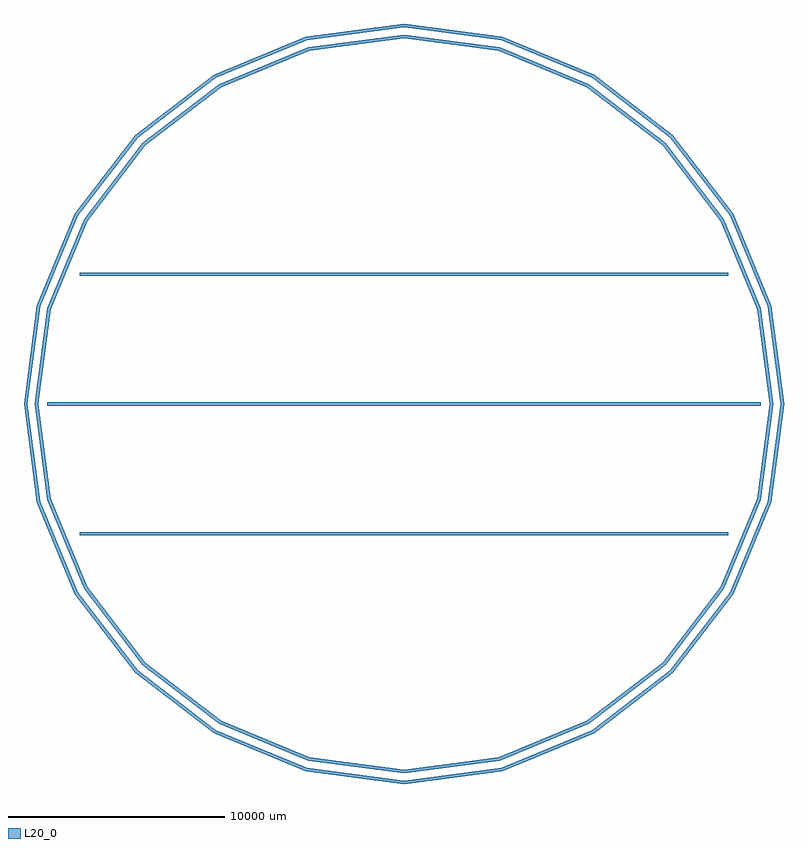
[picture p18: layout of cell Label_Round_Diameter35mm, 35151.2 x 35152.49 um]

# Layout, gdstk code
import gdstk
lib = gdstk.Library(unit=1e-6, precision=1e-09)
L20_0 = (20, 0)

label_round_diameter35mm = lib.new_cell('Label_Round_Diameter35mm')
label_round_diameter35mm.add(gdstk.FlexPath([(-11000.74,0),(11000.74,0)], 149.998, ends="flush", simple_path=True, layer=20, datatype=0))  # L20_0
label_round_diameter35mm.add(gdstk.FlexPath([(9499.6,5999.48),(-9499.6,5999.48)], 149.998, ends="flush", simple_path=True, layer=20, datatype=0))  # L20_0
label_round_diameter35mm.add(gdstk.FlexPath([(-9499.6,-5999.48),(9499.6,-5999.48)], 149.998, ends="flush", simple_path=True, layer=20, datatype=0))  # L20_0
label_round_diameter35mm.add(gdstk.FlexPath([(11000.74,0),(13500.1,0)], 149.998, ends="flush", simple_path=True, layer=20, datatype=0))  # L20_0
label_round_diameter35mm.add(gdstk.FlexPath([(-10500.36,0),(-13500.1,0)], 149.998, ends="flush", simple_path=True, layer=20, datatype=0))  # L20_0
label_round_diameter35mm.add(gdstk.FlexPath([(9499.6,5999.48),(12499.34,5999.48)], 149.998, ends="flush", simple_path=True, layer=20, datatype=0))  # L20_0
label_round_diameter35mm.add(gdstk.FlexPath([(-8999.22,5999.48),(-12499.34,5999.48)], 149.998, ends="flush", simple_path=True, layer=20, datatype=0))  # L20_0
label_round_diameter35mm.add(gdstk.FlexPath([(-9499.6,-5999.48),(-12499.34,-5999.48)], 149.998, ends="flush", simple_path=True, layer=20, datatype=0))  # L20_0
label_round_diameter35mm.add(gdstk.FlexPath([(9499.6,-5999.48),(12499.34,-5999.48)], 149.998, ends="flush", simple_path=True, layer=20, datatype=0))  # L20_0
label_round_diameter35mm.add(gdstk.FlexPath([(17500.6,0),(16904.282,4529.489),(15155.964,8750.3),(12374.793,12374.793),(8750.3,15155.964),(4529.489,16904.282),(0,17500.6),(-4529.489,16904.282),(-8750.3,15155.964),(-12374.793,12374.793),(-15155.964,8750.3),(-16904.282,4529.489),(-17500.6,0),(-16904.282,-4529.489),(-15155.964,-8750.3),(-12374.793,-12374.793),(-8750.3,-15155.964),(-4529.489,-16904.282),(0,-17500.6),(4529.489,-16904.282),(8750.3,-15155.964),(12374.793,-12374.793),(15155.964,-8750.3),(16904.282,-4529.489),(17500.6,0)], 149.998, ends="flush", simple_path=True, layer=20, datatype=0))  # L20_0
label_round_diameter35mm.add(gdstk.FlexPath([(17000.22,0),(16420.952,4399.981),(14722.622,8500.11),(12020.971,12020.971),(8500.11,14722.622),(4399.981,16420.952),(0,17000.22),(-4399.981,16420.952),(-8500.11,14722.622),(-12020.971,12020.971),(-14722.622,8500.11),(-16420.952,4399.981),(-17000.22,0),(-16420.952,-4399.981),(-14722.622,-8500.11),(-12020.971,-12020.971),(-8500.11,-14722.622),(-4399.981,-16420.952),(0,-17000.22),(4399.981,-16420.952),(8500.11,-14722.622),(12020.971,-12020.971),(14722.622,-8500.11),(16420.952,-4399.981),(17000.22,0)], 149.998, ends="flush", simple_path=True, layer=20, datatype=0))  # L20_0
label_round_diameter35mm.add(gdstk.FlexPath([(13500.1,0),(16499.84,0)], 149.998, ends="flush", simple_path=True, layer=20, datatype=0))  # L20_0
label_round_diameter35mm.add(gdstk.FlexPath([(-13500.1,0),(-16499.84,0)], 149.998, ends="flush", simple_path=True, layer=20, datatype=0))  # L20_0
label_round_diameter35mm.add(gdstk.FlexPath([(-12499.34,5999.48),(-15001.24,5999.48)], 149.998, ends="flush", simple_path=True, layer=20, datatype=0))  # L20_0
label_round_diameter35mm.add(gdstk.FlexPath([(12499.34,5999.48),(15001.24,5999.48)], 149.998, ends="flush", simple_path=True, layer=20, datatype=0))  # L20_0
label_round_diameter35mm.add(gdstk.FlexPath([(12499.34,-5999.48),(15001.24,-5999.48)], 149.998, ends="flush", simple_path=True, layer=20, datatype=0))  # L20_0
label_round_diameter35mm.add(gdstk.FlexPath([(-12499.34,-5999.48),(-15001.24,-5999.48)], 149.998, ends="flush", simple_path=True, layer=20, datatype=0))  # L20_0
label_round_diameter35mm.add(gdstk.Label('type', (0,-19499.58), layer=9, texttype=0))
label_round_diameter35mm.add(gdstk.Label('devicename', (0,18999.2), layer=9, texttype=0))

lib.write_gds('Label_Round_Diameter35mm.gds')
